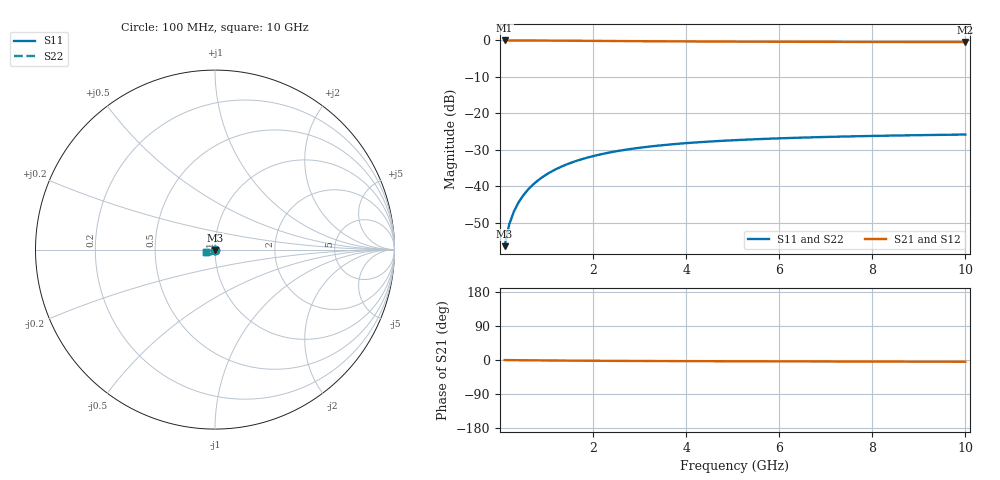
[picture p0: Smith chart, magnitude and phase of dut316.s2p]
! Touchstone file exported from HFSS 2024.1.0
!  File:  C:/UserFiles/LocalFiles/RDL_TSV_Batchsim/temp_TSV1_316_1779616420.aedt
!  Generated:  05:58:42 PM May 24, 2026
!  Design:  TSV1
!  Project:  temp_TSV1_316_1779616420
!  Setup:  Setup1
!  Solution:  Sweep
! Variables:
!  dtsv = 14.03um
!  hbump = 3um
!  htsv = 68.66um
!  lrdl = 252.1521522um
!  p = 40
!  p1 = 51.11um
!  t = 500um
!  trdl = 3um
!  wrdl = 24.89489489um
# GHz S MA R 50.000000
! Terminal data exported
! Port[1] = TSV22_T1
! Port[2] = TSV22_T2
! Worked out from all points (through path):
!   100 points, 100 MHz to 10 GHz, reference 50 ohm
!   highest |S21| = 0.00 dB at 100 MHz (marker M1); lowest = -0.4 dB at 10 GHz (marker M2)
!   lowest |S11| = -56.4 dB at 100 MHz (marker M3), VSWR 1.00, Z = 50 - j0.151 ohm
!   |S11| at or under -10 dB: start of sweep to end of sweep
!   |S22| runs from -56.4 to -25.8 dB; largest |S21 - S12| = 1.3e-14
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0.1  0.001507 -88.8  0.9999 -0.1  0.9999 -0.1  0.001507 -88.8
! Gamma 0 0 0 0
! Port Impedance 50 0 50 0
0.2  0.003012 -91.9  0.9997 -0.3  0.9997 -0.3  0.003012 -91.9
0.3  0.004515 -94.1  0.9995 -0.4  0.9995 -0.4  0.004515 -94.1
0.4  0.00601 -96.0  0.9991 -0.5  0.9991 -0.5  0.00601 -96.0
0.5  0.00749 -97.9  0.9987 -0.6  0.9987 -0.6  0.00749 -97.9
0.6  0.00895 -99.8  0.9982 -0.7  0.9982 -0.7  0.00895 -99.8
0.7  0.01039 -101.6  0.9976 -0.9  0.9976 -0.9  0.01039 -101.6
0.8  0.01179 -103.3  0.997 -1.0  0.997 -1.0  0.01179 -103.3
0.9  0.01317 -105.0  0.9963 -1.1  0.9963 -1.1  0.01317 -105.0
1.1  0.01582 -108.3  0.9948 -1.3  0.9948 -1.3  0.01582 -108.3
1.4  0.01953 -113.0  0.9922 -1.6  0.9922 -1.6  0.01953 -113.0
1.6  0.0218 -115.9  0.9903 -1.7  0.9903 -1.7  0.0218 -115.9
1.8  0.02393 -118.7  0.9884 -1.9  0.9884 -1.9  0.02393 -118.7
2.1  0.02682 -122.5  0.9855 -2.1  0.9855 -2.1  0.02682 -122.5
2.5  0.03019 -127.2  0.9817 -2.3  0.9817 -2.3  0.03019 -127.2
2.9  0.03307 -131.3  0.9782 -2.5  0.9782 -2.5  0.03307 -131.3
3.4  0.03608 -135.8  0.9742 -2.8  0.9742 -2.8  0.03608 -135.8
4.2  0.03985 -141.8  0.9687 -3.0  0.9687 -3.0  0.03985 -141.8
5.1  0.04302 -147.2  0.9639 -3.3  0.9639 -3.3  0.04302 -147.2
6.7  0.04687 -154.7  0.9576 -3.7  0.9576 -3.7  0.04688 -154.7
8.4  0.04951 -160.6  0.953 -4.2  0.953 -4.2  0.04951 -160.6
10  0.0512 -165.1  0.9501 -4.6  0.9501 -4.6  0.0512 -165.1
